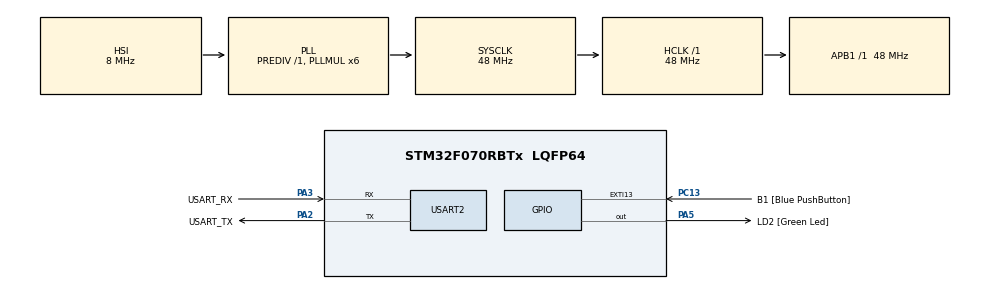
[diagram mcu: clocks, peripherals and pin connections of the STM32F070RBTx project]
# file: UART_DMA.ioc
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Dma.Request0=USART2_RX
Dma.Request1=USART2_TX
Dma.USART2_RX.0.Direction=DMA_PERIPH_TO_MEMORY
Dma.USART2_RX.0.Instance=DMA1_Channel5
Dma.USART2_RX.0.MemDataAlignment=DMA_MDATAALIGN_BYTE
Dma.USART2_RX.0.MemInc=DMA_MINC_ENABLE
Dma.USART2_RX.0.Mode=DMA_NORMAL
Dma.USART2_RX.0.PeriphDataAlignment=DMA_PDATAALIGN_BYTE
Dma.USART2_RX.0.PeriphInc=DMA_PINC_DISABLE
Dma.USART2_RX.0.Priority=DMA_PRIORITY_HIGH
Dma.USART2_TX.1.Direction=DMA_MEMORY_TO_PERIPH
Dma.USART2_TX.1.Instance=DMA1_Channel4
Dma.USART2_TX.1.MemDataAlignment=DMA_MDATAALIGN_BYTE
Dma.USART2_TX.1.MemInc=DMA_MINC_ENABLE
Dma.USART2_TX.1.Mode=DMA_NORMAL
Dma.USART2_TX.1.PeriphDataAlignment=DMA_PDATAALIGN_BYTE
Dma.USART2_TX.1.PeriphInc=DMA_PINC_DISABLE
Dma.USART2_TX.1.Priority=DMA_PRIORITY_MEDIUM
Mcu.Family=STM32F0
Mcu.Name=STM32F070RBTx
Mcu.Package=LQFP64
NVIC.DMA1_Channel4_5_IRQn=true\:0\:0\:false\:false\:true\:false\:true\:true
NVIC.USART2_IRQn=true\:0\:0\:false\:false\:true\:true\:true\:true
PA13.GPIO_Label=TMS
PA13.Mode=Serial_Wire
PA13.Signal=SYS_SWDIO
PA14.GPIO_Label=TCK
PA14.Mode=Serial_Wire
PA14.Signal=SYS_SWCLK
PA2.GPIO_Label=USART_TX
PA2.Mode=Asynchronous
PA2.Signal=USART2_TX
PA3.GPIO_Label=USART_RX
PA3.Mode=Asynchronous
PA3.Signal=USART2_RX
PA5.GPIO_Label=LD2 [Green Led]
PA5.Signal=GPIO_Output
PC13.GPIO_Label=B1 [Blue PushButton]
PC13.GPIO_ModeDefaultEXTI=GPIO_MODE_IT_FALLING
PC13.Signal=GPXTI13
PC14-OSC32_IN.GPIO_Label=RCC_OSC32_IN
PC14-OSC32_IN.Mode=LSE-External-Oscillator
PC14-OSC32_IN.Signal=RCC_OSC32_IN
PC15-OSC32_OUT.GPIO_Label=RCC_OSC32_OUT
PC15-OSC32_OUT.Mode=LSE-External-Oscillator
PC15-OSC32_OUT.Signal=RCC_OSC32_OUT
PF0-OSC_IN.GPIO_Label=RCC_OSC_IN
PF0-OSC_IN.Mode=HSE-External-Clock-Source
PF0-OSC_IN.Signal=RCC_OSC_IN
PF1-OSC_OUT.GPIO_Label=RCC_OSC_OUT
PF1-OSC_OUT.Signal=RCC_OSC_OUT
ProjectManager.HeapSize=0x200
ProjectManager.StackSize=0x400
ProjectManager.TargetToolchain=STM32CubeIDE
RCC.AHBFreq_Value=48000000
RCC.APB1Freq_Value=48000000
RCC.APB1TimFreq_Value=48000000
RCC.HCLKFreq_Value=48000000
RCC.PLLMUL=RCC_PLL_MUL6
RCC.SYSCLKFreq_VALUE=48000000
RCC.SYSCLKSource=RCC_SYSCLKSOURCE_PLLCLK
USART2.VirtualMode-Asynchronous=VM_ASYNC
board=NUCLEO-F070RB

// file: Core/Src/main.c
/* USER CODE BEGIN Header */
/**
  ******************************************************************************
  * @file           : main.c
  * @brief          : Main program body
  ******************************************************************************
  * @attention
  *
  * Copyright (c) 2024 STMicroelectronics.
  * All rights reserved.
  *
  * This software is licensed under terms that can be found in the LICENSE file
  * in the root directory of this software component.
  * If no LICENSE file comes with this software, it is provided AS-IS.
  *
  ******************************************************************************
  */
/* USER CODE END Header */
#include "main.h"

/* USER CODE BEGIN Includes */
#include <string.h>

/* USER CODE END Includes */

UART_HandleTypeDef huart2;
DMA_HandleTypeDef hdma_usart2_rx;
DMA_HandleTypeDef hdma_usart2_tx;

/* USER CODE BEGIN PV */
uint8_t tx_buff[8];
uint8_t rx_buff[8];
uint8_t tx_empty = 1;
uint8_t rx_full = 0;

/* USER CODE END PV */

void SystemClock_Config(void);
static void MX_GPIO_Init(void);
static void MX_DMA_Init(void);
static void MX_USART2_UART_Init(void);

int main(void)
{

  /* MCU Configuration--------------------------------------------------------*/

  /* Reset of all peripherals, Initializes the Flash interface and the Systick. */
  HAL_Init();

  /* Configure the system clock */
  SystemClock_Config();

  /* Initialize all configured peripherals */
  MX_GPIO_Init();
  MX_DMA_Init();
  MX_USART2_UART_Init();

  /* USER CODE BEGIN 2 */
  HAL_UART_Receive_DMA(&huart2, rx_buff, sizeof(rx_buff));

  /* USER CODE END 2 */

  /* Infinite loop */
  /* USER CODE BEGIN WHILE */
  while (1)
  {
    if (rx_full)
    {
      rx_full = 0;
      memcpy(tx_buff, rx_buff, sizeof(rx_buff));

      for (uint8_t i = 0; i < sizeof(tx_buff); i++)
      {
        if (tx_buff[i] < 255) tx_buff[i]++;
      }

      if (tx_empty)
      {
        tx_empty = 0;
        HAL_UART_Transmit_DMA(&huart2, tx_buff, sizeof(tx_buff));
      }

      // Re-initiate DMA reception
      HAL_UART_Receive_DMA(&huart2, rx_buff, sizeof(rx_buff));
    }
  }
  /* USER CODE END WHILE */
}

/* USER CODE BEGIN 4 */
void HAL_UART_RxCpltCallback(UART_HandleTypeDef *huart)
{
  if (huart == &huart2)
  {
    rx_full = 1;
  }
}

void HAL_UART_TxCpltCallback(UART_HandleTypeDef *huart)
{
  if (huart == &huart2)
  {
    tx_empty = 1;
  }
}
/* USER CODE END 4 */

void SystemClock_Config(void)
{
  RCC_OscInitTypeDef RCC_OscInitStruct = {0};
  RCC_ClkInitTypeDef RCC_ClkInitStruct = {0};

  /** Initializes the RCC Oscillators according to the specified parameters
  * in the RCC_OscInitTypeDef structure.
  */
  RCC_OscInitStruct.OscillatorType = RCC_OSCILLATORTYPE_HSI;
  RCC_OscInitStruct.HSIState = RCC_HSI_ON;
  RCC_OscInitStruct.HSICalibrationValue = RCC_HSICALIBRATION_DEFAULT;
  RCC_OscInitStruct.PLL.PLLState = RCC_PLL_ON;
  RCC_OscInitStruct.PLL.PLLSource = RCC_PLLSOURCE_HSI;
  RCC_OscInitStruct.PLL.PLLMUL = RCC_PLL_MUL6;
  RCC_OscInitStruct.PLL.PREDIV = RCC_PREDIV_DIV1;
  if (HAL_RCC_OscConfig(&RCC_OscInitStruct) != HAL_OK)
  {
    Error_Handler();
  }

  /** Initializes the CPU, AHB and APB buses clocks
  */
  RCC_ClkInitStruct.ClockType = RCC_CLOCKTYPE_HCLK|RCC_CLOCKTYPE_SYSCLK
                              |RCC_CLOCKTYPE_PCLK1;
  RCC_ClkInitStruct.SYSCLKSource = RCC_SYSCLKSOURCE_PLLCLK;
  RCC_ClkInitStruct.AHBCLKDivider = RCC_SYSCLK_DIV1;
  RCC_ClkInitStruct.APB1CLKDivider = RCC_HCLK_DIV1;

  if (HAL_RCC_ClockConfig(&RCC_ClkInitStruct, FLASH_LATENCY_1) != HAL_OK)
  {
    Error_Handler();
  }
}

static void MX_USART2_UART_Init(void)
{

  huart2.Instance = USART2;
  huart2.Init.BaudRate = 38400;
  huart2.Init.WordLength = UART_WORDLENGTH_8B;
  huart2.Init.StopBits = UART_STOPBITS_1;
  huart2.Init.Parity = UART_PARITY_NONE;
  huart2.Init.Mode = UART_MODE_TX_RX;
  huart2.Init.HwFlowCtl = UART_HWCONTROL_NONE;
  huart2.Init.OverSampling = UART_OVERSAMPLING_16;
  huart2.Init.OneBitSampling = UART_ONE_BIT_SAMPLE_DISABLE;
  huart2.AdvancedInit.AdvFeatureInit = UART_ADVFEATURE_NO_INIT;
  if (HAL_UART_Init(&huart2) != HAL_OK)
  {
    Error_Handler();
  }

}

static void MX_DMA_Init(void)
{

  /* DMA controller clock enable */
  __HAL_RCC_DMA1_CLK_ENABLE();

  /* DMA interrupt init */
  /* DMA1_Channel4_5_IRQn interrupt configuration */
  HAL_NVIC_SetPriority(DMA1_Channel4_5_IRQn, 0, 0);
  HAL_NVIC_EnableIRQ(DMA1_Channel4_5_IRQn);

}

static void MX_GPIO_Init(void)
{
  GPIO_InitTypeDef GPIO_InitStruct = {0};

  /* GPIO Ports Clock Enable */
  __HAL_RCC_GPIOC_CLK_ENABLE();
  __HAL_RCC_GPIOF_CLK_ENABLE();
  __HAL_RCC_GPIOA_CLK_ENABLE();

  /*Configure GPIO pin Output Level */
  HAL_GPIO_WritePin(LD2_GPIO_Port, LD2_Pin, GPIO_PIN_RESET);

  /*Configure GPIO pin : B1_Pin */
  GPIO_InitStruct.Pin = B1_Pin;
  GPIO_InitStruct.Mode = GPIO_MODE_IT_FALLING;
  GPIO_InitStruct.Pull = GPIO_NOPULL;
  HAL_GPIO_Init(B1_GPIO_Port, &GPIO_InitStruct);

  /*Configure GPIO pin : LD2_Pin */
  GPIO_InitStruct.Pin = LD2_Pin;
  GPIO_InitStruct.Mode = GPIO_MODE_OUTPUT_PP;
  GPIO_InitStruct.Pull = GPIO_NOPULL;
  GPIO_InitStruct.Speed = GPIO_SPEED_FREQ_LOW;
  HAL_GPIO_Init(LD2_GPIO_Port, &GPIO_InitStruct);

}

void Error_Handler(void)
{
  __disable_irq();
  while (1)
  {
  }
}
